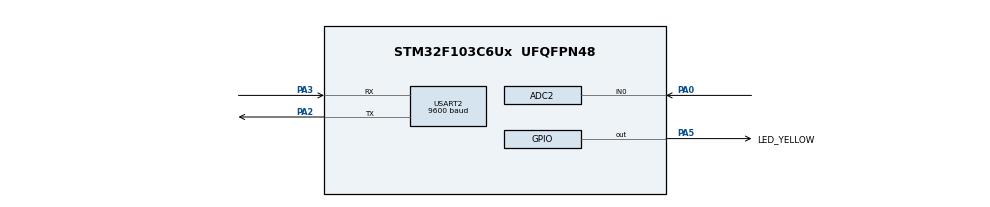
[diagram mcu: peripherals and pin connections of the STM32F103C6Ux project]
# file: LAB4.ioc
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ADC1.Channel-1\#ChannelRegularConversion=ADC_CHANNEL_0
ADC1.ContinuousConvMode=ENABLE
ADC1.NbrOfConversionFlag=1
ADC1.Rank-1\#ChannelRegularConversion=1
ADC1.SamplingTime-1\#ChannelRegularConversion=ADC_SAMPLETIME_1CYCLE_5
ADC1.master=1
ADC2.Channel-0\#ChannelRegularConversion=ADC_CHANNEL_0
ADC2.NbrOfConversionFlag=1
ADC2.Rank-0\#ChannelRegularConversion=1
ADC2.SamplingTime-0\#ChannelRegularConversion=ADC_SAMPLETIME_1CYCLE_5
Mcu.Family=STM32F1
Mcu.Name=STM32F103C6Ux
Mcu.Package=UFQFPN48
NVIC.PriorityGroup=NVIC_PRIORITYGROUP_4
NVIC.TIM2_IRQn=true\:0\:0\:false\:false\:true\:true\:true
NVIC.USART2_IRQn=true\:0\:0\:false\:false\:true\:true\:true
PA0-WKUP.Signal=ADCx_IN0
PA2.Mode=Asynchronous
PA2.Signal=USART2_TX
PA3.Mode=Asynchronous
PA3.Signal=USART2_RX
PA5.GPIO_Label=LED_YELLOW
PA5.Signal=GPIO_Output
ProjectManager.HeapSize=0x200
ProjectManager.StackSize=0x400
ProjectManager.TargetToolchain=STM32CubeIDE
RCC.APB1Freq_Value=8000000
RCC.APB2Freq_Value=8000000
SH.ADCx_IN0.0=ADC2_IN0,IN0
SH.ADCx_IN0.1=ADC1_IN0,IN0
TIM2.Period=9
TIM2.Prescaler=7999
USART2.BaudRate=9600
USART2.VirtualMode=VM_ASYNC
VP_SYS_VS_ND.Mode=No_Debug
VP_TIM2_VS_ClockSourceINT.Mode=Internal
board=custom

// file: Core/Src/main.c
/* USER CODE BEGIN Header */
/**
  ******************************************************************************
  * @file           : main.c
  * @brief          : Main program body
  ******************************************************************************
  * @attention
  *
  * <h2><center>&copy; Copyright (c) 2023 STMicroelectronics.
  * All rights reserved.</center></h2>
  *
  * This software component is licensed by ST under BSD 3-Clause license,
  * the "License"; You may not use this file except in compliance with the
  * License. You may obtain a copy of the License at:
  *                        opensource.org/licenses/BSD-3-Clause
  *
  ******************************************************************************
  */
/* USER CODE END Header */
#include "main.h"

/* USER CODE BEGIN Includes */
#include "global.h"

/* USER CODE END Includes */

ADC_HandleTypeDef hadc1;
ADC_HandleTypeDef hadc2;

TIM_HandleTypeDef htim2;

UART_HandleTypeDef huart2;

void SystemClock_Config(void);
static void MX_GPIO_Init(void);
static void MX_ADC1_Init(void);
static void MX_USART2_UART_Init(void);
static void MX_TIM2_Init(void);
static void MX_ADC2_Init(void);

/* USER CODE BEGIN 0 */

void HAL_UART_RxCpltCallback(UART_HandleTypeDef *huart){
	if(huart->Instance == USART2){
		HAL_UART_Transmit(&huart2, &temp, 1, 50);
		buffer[index_buffer++] = temp;
		if(index_buffer == 30) index_buffer = 0;
		buffer_flag = 1;
		HAL_UART_Receive_IT(&huart2, &temp, 1);
	}
}

/* USER CODE END 0 */

int main(void)
{

  /* MCU Configuration--------------------------------------------------------*/

  /* Reset of all peripherals, Initializes the Flash interface and the Systick. */
  HAL_Init();

  /* Configure the system clock */
  SystemClock_Config();

  /* Initialize all configured peripherals */
  MX_GPIO_Init();
  MX_ADC1_Init();
  MX_USART2_UART_Init();
  MX_TIM2_Init();
  MX_ADC2_Init();
  /* USER CODE BEGIN 2 */
  HAL_UART_Receive_IT(&huart2, &temp, 1);
  HAL_TIM_Base_Start_IT(&htim2);

  /* USER CODE END 2 */

  /* Infinite loop */
  /* USER CODE BEGIN WHILE */
//  uint32_t ADC_value = 0;
//  char str;
  setTimer1(200);
  while (1)
  {
//	  if(timer1_flag){
//		  HAL_GPIO_TogglePin(LED_YELLOW_GPIO_Port, LED_YELLOW_Pin);
//		  setTimer1(500);
//	  }

	  if(buffer_flag == 1){
	          command_parser_fsm();
	          buffer_flag = 0;
	  }
	  uart_communiation_fsm();

    /* USER CODE END WHILE */

  }
}

void SystemClock_Config(void)
{
  RCC_OscInitTypeDef RCC_OscInitStruct = {0};
  RCC_ClkInitTypeDef RCC_ClkInitStruct = {0};
  RCC_PeriphCLKInitTypeDef PeriphClkInit = {0};

  /** Initializes the RCC Oscillators according to the specified parameters
  * in the RCC_OscInitTypeDef structure.
  */
  RCC_OscInitStruct.OscillatorType = RCC_OSCILLATORTYPE_HSI;
  RCC_OscInitStruct.HSIState = RCC_HSI_ON;
  RCC_OscInitStruct.HSICalibrationValue = RCC_HSICALIBRATION_DEFAULT;
  RCC_OscInitStruct.PLL.PLLState = RCC_PLL_NONE;
  if (HAL_RCC_OscConfig(&RCC_OscInitStruct) != HAL_OK)
  {
    Error_Handler();
  }
  /** Initializes the CPU, AHB and APB buses clocks
  */
  RCC_ClkInitStruct.ClockType = RCC_CLOCKTYPE_HCLK|RCC_CLOCKTYPE_SYSCLK
                              |RCC_CLOCKTYPE_PCLK1|RCC_CLOCKTYPE_PCLK2;
  RCC_ClkInitStruct.SYSCLKSource = RCC_SYSCLKSOURCE_HSI;
  RCC_ClkInitStruct.AHBCLKDivider = RCC_SYSCLK_DIV1;
  RCC_ClkInitStruct.APB1CLKDivider = RCC_HCLK_DIV1;
  RCC_ClkInitStruct.APB2CLKDivider = RCC_HCLK_DIV1;

  if (HAL_RCC_ClockConfig(&RCC_ClkInitStruct, FLASH_LATENCY_0) != HAL_OK)
  {
    Error_Handler();
  }
  PeriphClkInit.PeriphClockSelection = RCC_PERIPHCLK_ADC;
  PeriphClkInit.AdcClockSelection = RCC_ADCPCLK2_DIV2;
  if (HAL_RCCEx_PeriphCLKConfig(&PeriphClkInit) != HAL_OK)
  {
    Error_Handler();
  }
}

static void MX_ADC1_Init(void)
{

  ADC_ChannelConfTypeDef sConfig = {0};

  /** Common config
  */
  hadc1.Instance = ADC1;
  hadc1.Init.ScanConvMode = ADC_SCAN_DISABLE;
  hadc1.Init.ContinuousConvMode = ENABLE;
  hadc1.Init.DiscontinuousConvMode = DISABLE;
  hadc1.Init.ExternalTrigConv = ADC_SOFTWARE_START;
  hadc1.Init.DataAlign = ADC_DATAALIGN_RIGHT;
  hadc1.Init.NbrOfConversion = 1;
  if (HAL_ADC_Init(&hadc1) != HAL_OK)
  {
    Error_Handler();
  }
  /** Configure Regular Channel
  */
  sConfig.Channel = ADC_CHANNEL_0;
  sConfig.Rank = ADC_REGULAR_RANK_1;
  sConfig.SamplingTime = ADC_SAMPLETIME_1CYCLE_5;
  if (HAL_ADC_ConfigChannel(&hadc1, &sConfig) != HAL_OK)
  {
    Error_Handler();
  }

}

static void MX_ADC2_Init(void)
{

  ADC_ChannelConfTypeDef sConfig = {0};

  /** Common config
  */
  hadc2.Instance = ADC2;
  hadc2.Init.ScanConvMode = ADC_SCAN_DISABLE;
  hadc2.Init.ContinuousConvMode = DISABLE;
  hadc2.Init.DiscontinuousConvMode = DISABLE;
  hadc2.Init.ExternalTrigConv = ADC_SOFTWARE_START;
  hadc2.Init.DataAlign = ADC_DATAALIGN_RIGHT;
  hadc2.Init.NbrOfConversion = 1;
  if (HAL_ADC_Init(&hadc2) != HAL_OK)
  {
    Error_Handler();
  }
  /** Configure Regular Channel
  */
  sConfig.Channel = ADC_CHANNEL_0;
  sConfig.Rank = ADC_REGULAR_RANK_1;
  sConfig.SamplingTime = ADC_SAMPLETIME_1CYCLE_5;
  if (HAL_ADC_ConfigChannel(&hadc2, &sConfig) != HAL_OK)
  {
    Error_Handler();
  }

}

static void MX_TIM2_Init(void)
{

  TIM_ClockConfigTypeDef sClockSourceConfig = {0};
  TIM_MasterConfigTypeDef sMasterConfig = {0};

  htim2.Instance = TIM2;
  htim2.Init.Prescaler = 7999;
  htim2.Init.CounterMode = TIM_COUNTERMODE_UP;
  htim2.Init.Period = 9;
  htim2.Init.ClockDivision = TIM_CLOCKDIVISION_DIV1;
  htim2.Init.AutoReloadPreload = TIM_AUTORELOAD_PRELOAD_DISABLE;
  if (HAL_TIM_Base_Init(&htim2) != HAL_OK)
  {
    Error_Handler();
  }
  sClockSourceConfig.ClockSource = TIM_CLOCKSOURCE_INTERNAL;
  if (HAL_TIM_ConfigClockSource(&htim2, &sClockSourceConfig) != HAL_OK)
  {
    Error_Handler();
  }
  sMasterConfig.MasterOutputTrigger = TIM_TRGO_RESET;
  sMasterConfig.MasterSlaveMode = TIM_MASTERSLAVEMODE_DISABLE;
  if (HAL_TIMEx_MasterConfigSynchronization(&htim2, &sMasterConfig) != HAL_OK)
  {
    Error_Handler();
  }

}

static void MX_USART2_UART_Init(void)
{

  huart2.Instance = USART2;
  huart2.Init.BaudRate = 9600;
  huart2.Init.WordLength = UART_WORDLENGTH_8B;
  huart2.Init.StopBits = UART_STOPBITS_1;
  huart2.Init.Parity = UART_PARITY_NONE;
  huart2.Init.Mode = UART_MODE_TX_RX;
  huart2.Init.HwFlowCtl = UART_HWCONTROL_NONE;
  huart2.Init.OverSampling = UART_OVERSAMPLING_16;
  if (HAL_UART_Init(&huart2) != HAL_OK)
  {
    Error_Handler();
  }

}

static void MX_GPIO_Init(void)
{
  GPIO_InitTypeDef GPIO_InitStruct = {0};

  /* GPIO Ports Clock Enable */
  __HAL_RCC_GPIOA_CLK_ENABLE();

  /*Configure GPIO pin Output Level */
  HAL_GPIO_WritePin(LED_YELLOW_GPIO_Port, LED_YELLOW_Pin, GPIO_PIN_RESET);

  /*Configure GPIO pin : LED_YELLOW_Pin */
  GPIO_InitStruct.Pin = LED_YELLOW_Pin;
  GPIO_InitStruct.Mode = GPIO_MODE_OUTPUT_PP;
  GPIO_InitStruct.Pull = GPIO_NOPULL;
  GPIO_InitStruct.Speed = GPIO_SPEED_FREQ_LOW;
  HAL_GPIO_Init(LED_YELLOW_GPIO_Port, &GPIO_InitStruct);

}

/* USER CODE BEGIN 4 */

void HAL_TIM_PeriodElapsedCallback ( TIM_HandleTypeDef * htim2 ){
	timerRun();
}

/* USER CODE END 4 */

void Error_Handler(void)
{
  __disable_irq();
  while (1)
  {
  }
}

/************************ (C) COPYRIGHT STMicroelectronics *****END OF FILE****/
